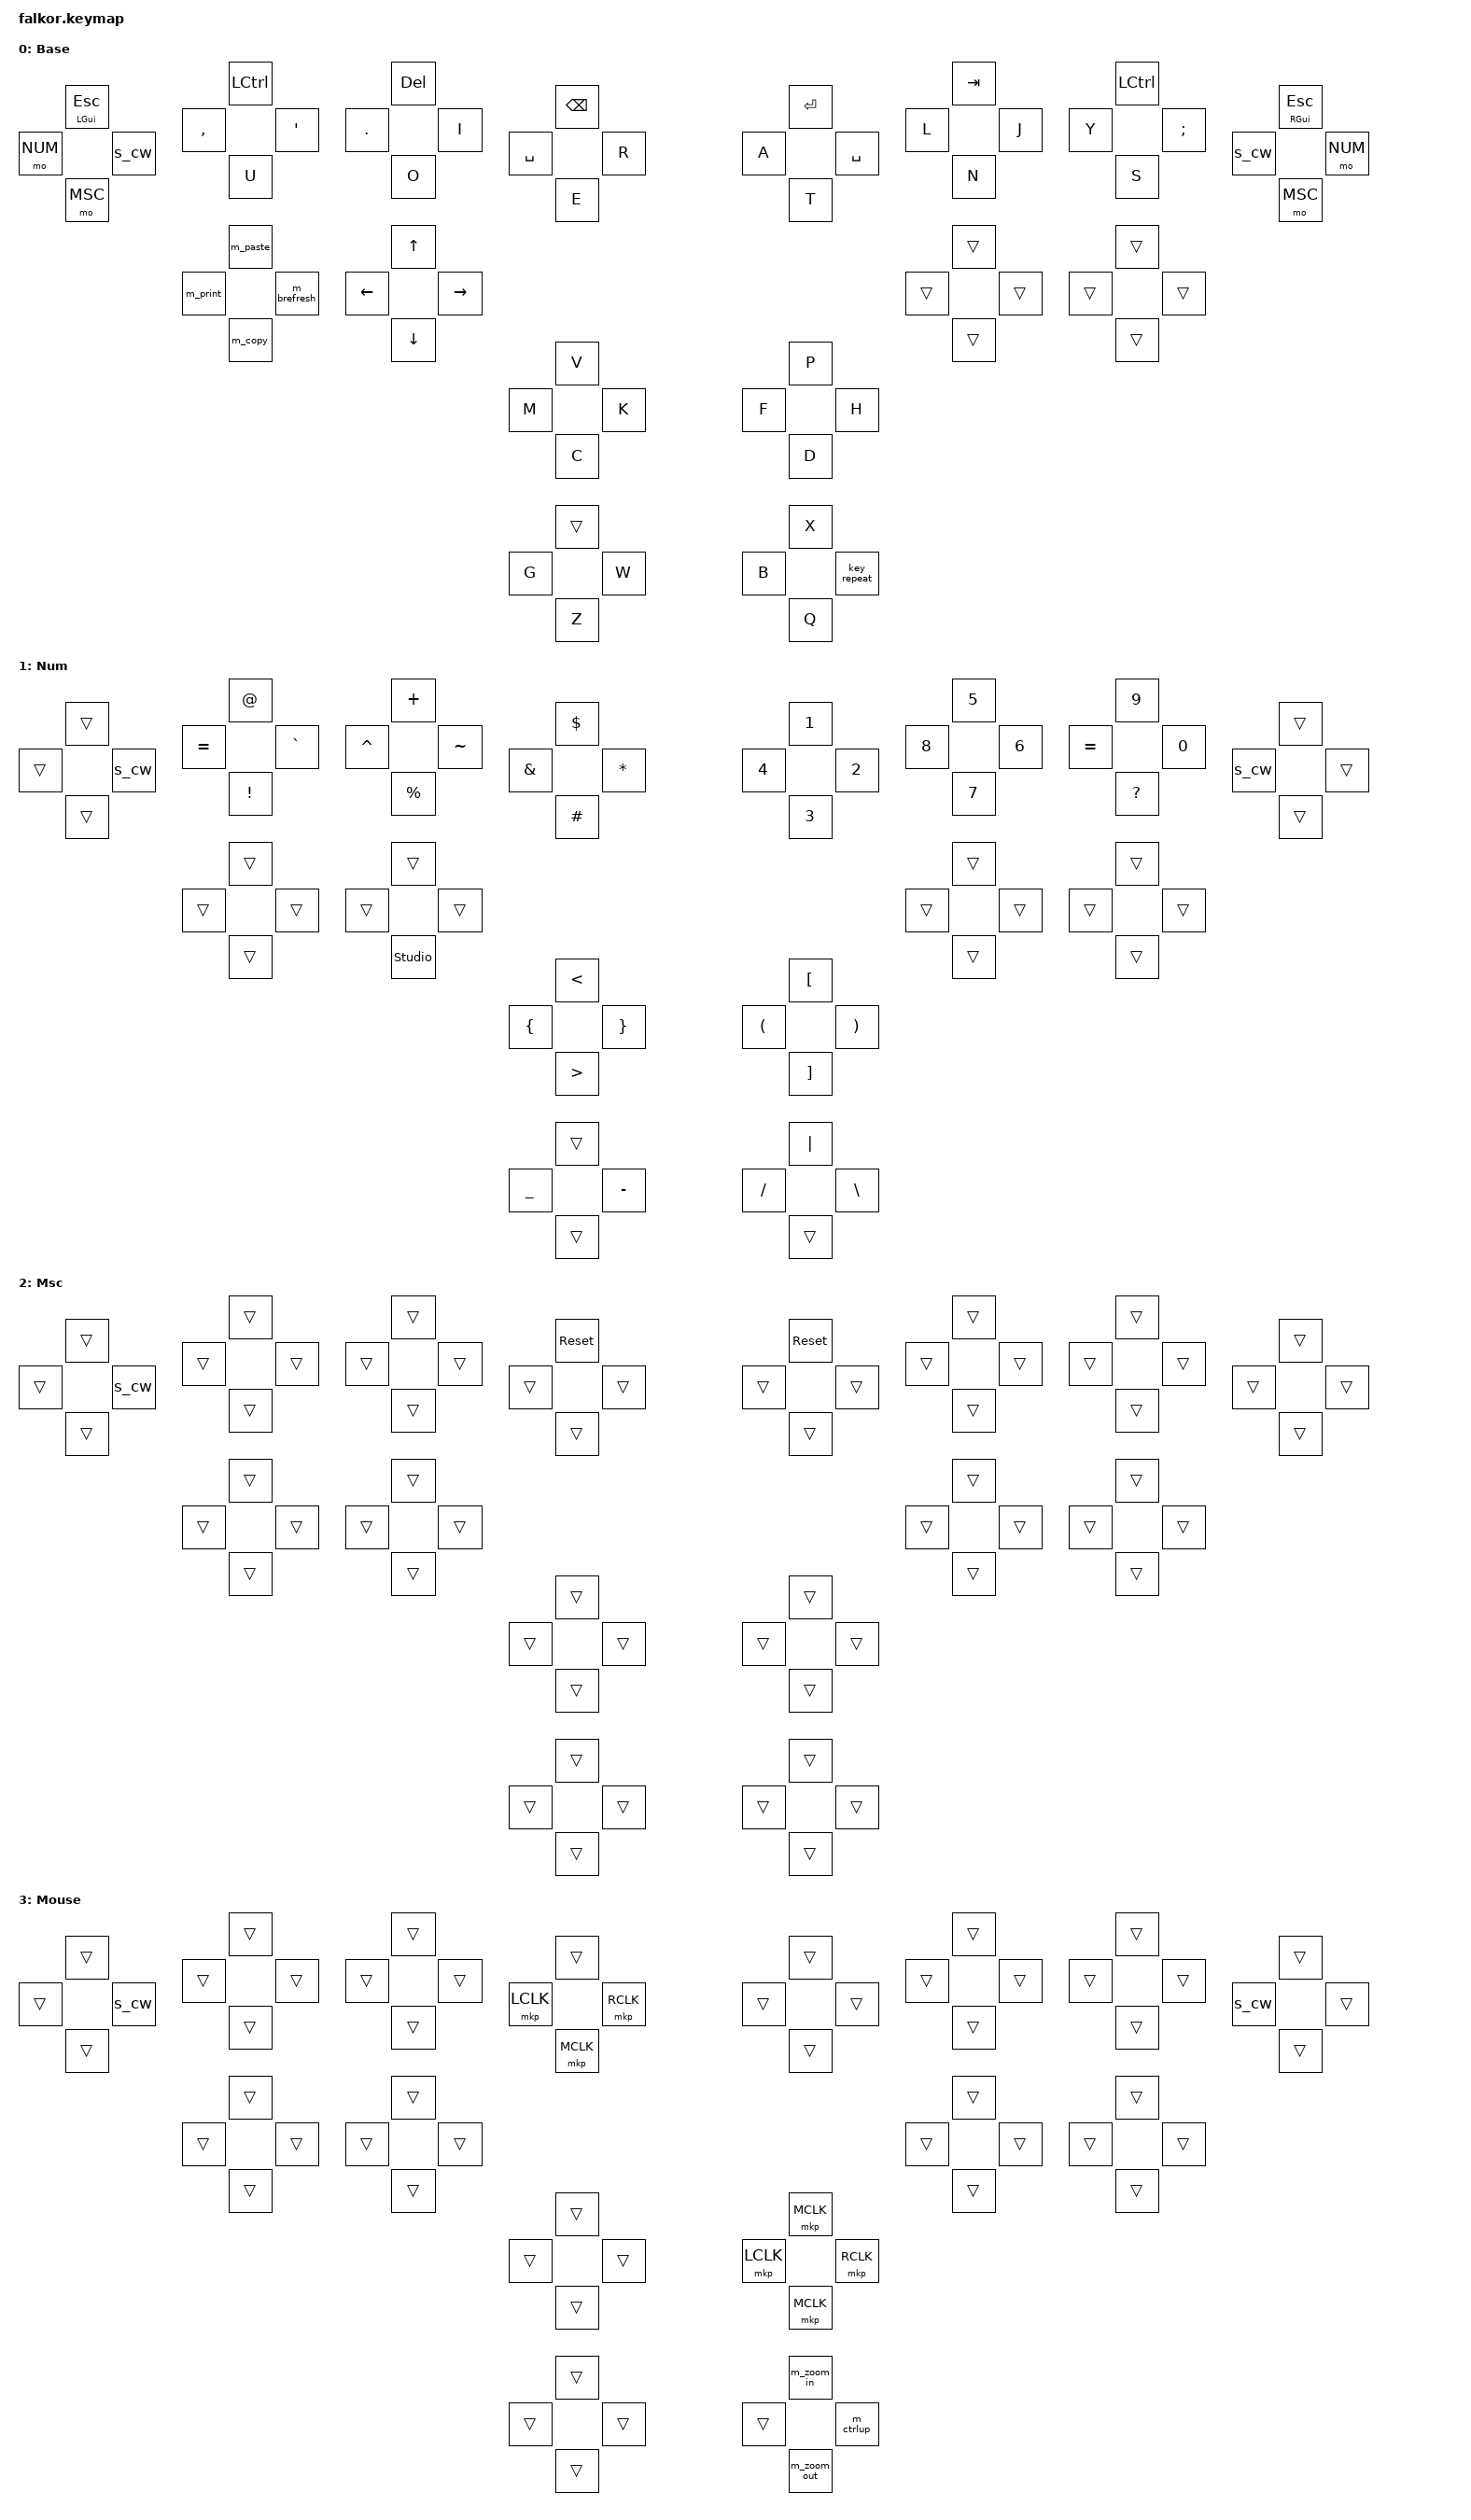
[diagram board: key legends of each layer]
#include <zephyr/dt-bindings/input/input-event-codes.h>
#include <behaviors.dtsi>
#include <behaviors/studio_unlock.dtsi>
#include <behaviors/mouse_keys.dtsi>
#include <behaviors/mouse_key_press.dtsi>
#include <behaviors/mouse_key_toggle.dtsi>
#include <dt-bindings/zmk/keys.h>
#include <dt-bindings/zmk/bt.h>
#include <dt-bindings/zmk/ext_power.h>
#include <dt-bindings/zmk/mouse.h>
#include <dt-bindings/zmk/outputs.h>
#include <dt-bindings/zmk/input_transform.h>
#include <input/processors/xyz.dtsi>

#define BAS 0
#define NUM 1
#define MSC 2
#define MOU 3

#ifndef MOVE_Y
#define MOVE_Y(n) (0)
#endif
#ifndef MOVE_X
#define MOVE_X(n) (0)
#endif

#define U_MOUSE_MOVE_MAX 1700
#define MOU_U MOVE_Y(-U_MOUSE_MOVE_MAX)
#define MOU_D MOVE_Y(U_MOUSE_MOVE_MAX)
#define MOU_L MOVE_X(-U_MOUSE_MOVE_MAX)
#define MOU_R MOVE_X(U_MOUSE_MOVE_MAX)

#define U_MOUSE_SCROLL_MAX 10
#define SCL_U MOVE_Y(U_MOUSE_SCROLL_MAX)
#define SCL_D MOVE_Y(-U_MOUSE_SCROLL_MAX)
#define SCL_L MOVE_X(-U_MOUSE_SCROLL_MAX)
#define SCL_R MOVE_X(U_MOUSE_SCROLL_MAX)

/ {
    xy_transf: xy_transf {
        compatible = "zmk,input-processor-transform";
        #input-processor-cells = <1>;
        type = <INPUT_EV_REL>;
        x-codes = <INPUT_REL_X>, <INPUT_REL_WHEEL>;
        y-codes = <INPUT_REL_Y>, <INPUT_REL_HWHEEL>;
    };
    xy_scaler: xy_scaler {
        compatible = "zmk,input-processor-scaler";
        #input-processor-cells = <2>;
        type = <INPUT_EV_REL>;
        codes = <INPUT_REL_X>, <INPUT_REL_Y>;
        track-remainders;
    };
    x_scaler: x_scaler {
        compatible = "zmk,input-processor-scaler";
        #input-processor-cells = <2>;
        type = <INPUT_EV_REL>;
        codes = <INPUT_REL_X>;
    };
    to_wheel: to_wheel {
        compatible = "zmk,input-processor-code-mapper";
        #input-processor-cells = <0>;
        type = <INPUT_EV_REL>;
        map = <INPUT_REL_X INPUT_REL_HWHEEL>
            , <INPUT_REL_Y INPUT_REL_WHEEL>;
    };
    zip_temp_layer: zip_temp_layer {
        compatible = "zmk,input-processor-temp-layer";
        #input-processor-cells = <2>;
        require-prior-idle-ms = <200>;
        excluded-positions = <
            9
            14
            15
            22
            27
            49
            52
            53
            55
            57
            60
            61
            63
        >;
    };

    tracball_mmv_il {
        compatible = "zmk,input-listener";
        device = <&tball_split>;
        input-processors = <&zip_zxy>, <&xy_scaler 4 1>;
        scroll {
            layers = <NUM MSC>;
            input-processors = <&xy_transf (INPUT_TRANSFORM_X_INVERT)>
                             , <&xy_scaler 1 45>
                             , <&to_wheel>;
            process-next;
        };
        layer_move {
            layers = <BAS>;
            input-processors = <&zip_temp_layer 3 2000>;
            process-next;
        };
    };

    behaviors {
        ht: hold_tap_mods {
            compatible = "zmk,behavior-hold-tap"; #binding-cells = <2>;
            tapping-term-ms = <200>;
            flavor = "hold-preferred"; bindings = <&kp>, <&kp>;
            display-name = "mod-tap";
        };
        hm: homerow_mods {
            compatible = "zmk,behavior-hold-tap"; #binding-cells = <2>;
            tapping-term-ms = <200>; quick-tap-ms = <200>;
            flavor = "tap-preferred"; bindings = <&kp>, <&kp>;
            display-name = "mod-tap";
        };
        hl: homerow_layers {
            compatible = "zmk,behavior-hold-tap"; #binding-cells = <2>;
            tapping-term-ms = <200>; quick-tap-ms = <200>;
            flavor = "tap-preferred"; bindings = <&mo>, <&kp>;
            display-name = "hold-layer";
        };
        kg: key_press_tap_toggle {
            compatible = "zmk,behavior-hold-tap"; #binding-cells = <2>;
            tapping-term-ms = <200>; quick-tap-ms = <200>;
            flavor = "tap-preferred"; bindings = <&kp>, <&tog>;
        };
        mkg: hold_mouse_key_press_tap_toggle {
            compatible = "zmk,behavior-hold-tap"; #binding-cells = <2>;
            tapping-term-ms = <200>; quick-tap-ms = <200>;
            flavor = "tap-preferred"; bindings = <&mkp>, <&tog>;
        };
        m_v: mouse_move {
            compatible = "zmk,behavior-input-two-axis";
            #binding-cells = <1>;

            trigger-period-ms = <12>; // slow down for OTA, default is 3ms
            x-input-code = <INPUT_REL_X>;
            y-input-code = <INPUT_REL_Y>;
            time-to-max-speed-ms = <300>;
            acceleration-exponent = <1>;
        };
        m_s: mouse_scroll {
            compatible = "zmk,behavior-input-two-axis";
            #binding-cells = <1>;
            trigger-period-ms = <12>; // slow down for OTA, default is 3ms
            x-input-code = <INPUT_REL_HWHEEL>;
            y-input-code = <INPUT_REL_WHEEL>;
            time-to-max-speed-ms = <50>;
            acceleration-exponent = <1>;
        };
        s_cw: tap_dance_shift_capsword {
            compatible = "zmk,behavior-tap-dance";
            #binding-cells = <0>;
            tapping-term-ms = <200>;
            bindings = <&sk LSHIFT>, <&caps_word>;
        };
    };

    mmv_input_listener {
        compatible = "zmk,input-listener";
        device = <&m_v>;
    };
    mms_input_listener {
        compatible = "zmk,input-listener";
        device = <&m_s>;
    };

    /* combos { */
    /*     compatible = "zmk,combos"; */
    /**/
    /*     spc       { timeout-ms = <50>; key-positions = <16 17>; bindings = <&kp SPC>; layers = <BAS NUM>; }; */
    /*     bksp      { timeout-ms = <50>; key-positions = <17 18>; bindings = <&kp BKSP>; layers = <BAS NUM>; }; */
    /*     del       { timeout-ms = <50>; key-positions = <6 7 8>; bindings = <&kp DEL>; layers = <BAS NUM>; }; */
    /**/
    /*     esc       { timeout-ms = <50>; key-positions = <11 12>; bindings = <&kp ESC>; layers = <BAS NUM>; }; */
    /*     tab       { timeout-ms = <50>; key-positions = <12 13>; bindings = <&kp TAB>; layers = <BAS NUM>; }; */
    /**/
    /*     ret_r     { timeout-ms = <50>; key-positions = <26 17 18>; bindings = <&kp RET>; layers = <BAS NUM>; }; */
    /*     ret_l     { timeout-ms = <50>; key-positions = <11 12 23>; bindings = <&kp RET>; layers = <BAS NUM>; }; */
    /**/
    /*     tog_lnp   { timeout-ms = <50>; key-positions = <1 2>; bindings = <&tog LNP>; layers = <BAS NUM MSC>; }; */
    /*     tog_rnp   { timeout-ms = <50>; key-positions = <7 8>; bindings = <&tog RNP>; layers = <BAS NUM MSC>; }; */
    /**/
    /*     mkp_swap  { timeout-ms = <50>; key-positions = <36 38>; bindings = <&tog LHB>; layers = <BAS NUM MSC>; }; */
    /*     mou_swap  { timeout-ms = <50>; key-positions = <46 47>; bindings = <&tog LHB>; layers = <BAS NUM MSC>; }; */
    /**/
    /*     tog_msk_ll { timeout-ms = <50>; key-positions = <21 22>; bindings = <&tog MSK>; layers = <BAS NUM MSC>; }; */
    /*     tog_msk_lr { timeout-ms = <50>; key-positions = <27 28>; bindings = <&tog MSK>; layers = <BAS NUM MSC>; }; */
    /**/
    /*     dfu_l     { timeout-ms = <50>; key-positions = <0 1>; bindings = <&bootloader>; layers = <MSC>; }; */
    /* }; */

    macros {
        m_copy: m_copy {
            compatible = "zmk,behavior-macro";
            #binding-cells = <0>;
            bindings
                = <&macro_press &kp LGUI>
                , <&macro_tap &kp C>
                , <&macro_release &kp LGUI>
                ;
        };
        m_paste: m_paste {
            compatible = "zmk,behavior-macro";
            #binding-cells = <0>;
            bindings
                = <&macro_press &kp LGUI>
                , <&macro_tap &kp V>
                , <&macro_release &kp LGUI>
                ;
        };
        m_ctrlup: m_ctrlup {
            compatible = "zmk,behavior-macro";
            #binding-cells = <0>;
            bindings
                = <&macro_press &kp LCTRL>
                , <&macro_tap &kp UP>
                , <&macro_release &kp LCTRL>
                ;
        };
        m_brefresh: m_brefresh {
            compatible = "zmk,behavior-macro";
            #binding-cells = <0>;
            bindings
                = <&macro_press &kp LGUI>
                , <&macro_press &kp LSHIFT>
                , <&macro_tap &kp R>
                , <&macro_release &kp LGUI>
                , <&macro_release &kp LSHIFT>
                ;
        };
        m_print: m_print {
            compatible = "zmk,behavior-macro";
            #binding-cells = <0>;
            bindings
                = <&macro_press &kp LGUI>
                , <&macro_press &kp LSHIFT>
                , <&macro_tap &kp N5>
                , <&macro_release &kp LGUI>
                , <&macro_release &kp LSHIFT>
                ;
        };
        m_zoom_in: m_zoom_in {
            compatible = "zmk,behavior-macro";
            #binding-cells = <0>;
            bindings
                = <&macro_press &kp LGUI>
                , <&macro_tap &kp EQUAL>
                , <&macro_release &kp LGUI>
                ;
        };
        m_zoom_out: m_zoom_out {
            compatible = "zmk,behavior-macro";
            #binding-cells = <0>;
            bindings
                = <&macro_press &kp LGUI>
                , <&macro_tap &kp MINUS>
                , <&macro_release &kp LGUI>
                ;
        };
    };

    keymap {
        compatible = "zmk,keymap";

        BAS_layer {
            display-name = "Base";
// -------______----------------_______-----------------_____-----------------______------------------_____---------------_____-------------______-----------------_____-------
//       | ESC |               |  CTRL |               | DEL |               | BSPC |       ||       | RET |             | TAB |           | CTRL |               | GUI |
// | NUM |     | SHIFT |   | , |       | ' |       | . |     | I |     | SPC |      | R |   ||   | A |     | SPC |   | L |     | J |   | Y |      | ; |   | SHIFT |     | NUM |  
//       | MSC |               |   U   |               |  O  |               |   E  |       ||       |  T  |             |  N  |           |   S  |               | MSC |
//                                                                                          ||
//                             | FRESH |               |  UP |                              ||                           |     |           |      |                      
//                       | PRT |       | CPY |   | LFT |     | RGT |                        ||                       |   |     |   |   |   |      |   |                          
//                             |  PST  |               | DWN |                              ||                           |     |           |      |                      
//                                                                                          ||
//                                                                           |   V  |       ||       |  P  |                                                             
//                                                                       | M |      | K |   ||   | F |     | H |                                                               
//                                                                           |   C  |       ||       |  D  |                                                             
//                                                                                          ||
//                                                                           |      |       ||       |  X  |                                                             
//                                                                       | G |      | W |   ||   | B |     | RPT |                                                               
//                                                                           |   Z  |       ||       |  Q  |                                                             
            bindings = <
      &mt LGUI ESC                &kp LCTRL                   &kp DEL                     &kp BSPC                    &kp RET                     &kp TAB                     &kp LCTRL                   &mt RGUI ESC           
&mo NUM       &s_cw         &kp COMMA     &kp APOS      &kp DOT       &kp I         &kp SPACE     &kp R         &kp A         &kp SPACE     &kp L         &kp J         &kp Y         &kp SEMI      &s_cw         &mo NUM
	  &mo MSC                     &kp U                       &kp O                       &kp E                       &kp T                       &kp N                       &kp S                       &mo MSC      

                                  &m_paste                   &kp UP                                                                               &trans                      &trans                          
	                        &m_print      &m_brefresh   &kp LEFT      &kp RIGHT                                                             &trans        &trans        &trans        &trans  
	                              &m_copy                    &kp DOWN                                                                             &trans                      &trans                    

                                                                                          &kp V                       &kp P                                     
	                                                                                &kp M         &kp K         &kp F         &kp H   
	                                                                                      &kp C                       &kp D                        

                                                                                          &trans                      &kp X                                     
	                                                                                &kp G         &kp W         &kp B         &key_repeat   
	                                                                                      &kp Z                       &kp Q                        
            >;
        };

        NUM_layer {
            display-name = "Num";

// -------______----------------_______-----------------_____-----------------______------------------_____---------------_____-------------______-----------------_____-------
//       |     |               |   @   |               |  +  |               |   $  |       ||       |  1  |             |  5  |           |   9  |               |     |
// |     |     | CAPSW |   | = |       | ` |       | ^ |     | ~ |       | & |      | * |   ||   | 1 |     | 2 |     | 8 |     | 6 |   | = |      | 0 |   | CAPSW |     |     |  
//       |     |               |   !   |               |  %  |               |   #  |       ||       |  3  |             |  7  |           |   ?  |               |     |
//                                                                                          ||
//                             |       |               |     |                              ||                           |     |           |      |                      
//                         |   |       |   |       |   |     |   |                          ||                       |   |     |   |   |   |      |   |                          
//                             |       |               |     |                              ||                           |     |           |      |                      
//                                                                                          ||
//                                                                           |   <  |       ||       |  [  |                                                             
//                                                                     |  {  |      | } |   ||   | ( |     | ) |                                                               
//                                                                           |   >  |       ||       |  ]  |                                                             
//                                                                                          ||
//                                                                           |      |       ||       |  |  |                                                             
//                                                                       | _ |      | - |   ||   | / |     | \ |                                                               
//                                                                           |      |       ||       |     |                                                             
            bindings = <
      &trans                      &kp AT                      &kp PLUS                    &kp DLLR                    &kp N1                      &kp N5                      &kp N9                      &trans           
&trans        &s_cw         &kp EQUAL     &kp GRAVE     &kp CARET     &kp TILDE     &kp AMPS      &kp STAR      &kp N4        &kp N2        &kp N8        &kp N6        &kp EQUAL     &kp N0        &s_cw         &trans
	  &trans                      &kp EXCL                    &kp PRCNT                   &kp HASH                    &kp N3                      &kp N7                      &kp QMARK                   &trans      

                                  &trans                      &trans                                                                              &trans                      &trans                          
	                        &trans        &trans        &trans        &trans                                                                &trans        &trans        &trans        &trans  
	                              &trans                      &studio_unlock                                                                      &trans                      &trans                    

                                                                                          &kp LT                      &kp LBKT                                     
	                                                                                &kp LBRC      &kp RBRC      &kp LPAR      &kp RPAR   
	                                                                                      &kp GT                      &kp RBKT                        

                                                                                          &trans                      &kp PIPE                                     
	                                                                                &kp UNDER     &kp MINUS     &kp FSLH      &kp BSLH   
	                                                                                      &trans                      &trans                        
            >;
        };

        MSC_layer {
            label = "Msc";
// -------______----------------_______-----------------_____-----------------______------------------_____---------------_____-------------______-----------------_____-------
//       |     |               |   @   |               |  +  |               |   $  |       ||       |  1  |             |  5  |           |   9  |               | GUI |
// |     |     | CAPSW |   | = |       | ` |       | ^ |     | ~ |       | & |      | * |   ||   | 1 |     | 2 |     | 8 |     | 6 |   | = |      | 0 |   | CAPSW |     |  |  
//       |     |               |   !   |               |  %  |               |   #  |       ||       |  3  |             |  7  |           |   ?  |               |     |
//                                                                                          ||
//                             |       |               |     |                              ||                           |     |           |      |                      
//                         |   |       |   |       |   |     |   |                          ||                       |   |     |   |   |   |      |   |                          
//                             |       |               |     |                              ||                           |     |           |      |                      
//                                                                                          ||
//                                                                           |   <  |       ||       |  [  |                                                             
//                                                                     |  {  |      | } |   ||   | ( |     | ) |                                                               
//                                                                           |   >  |       ||       |  ]  |                                                             
//                                                                                          ||
//                                                                           |      |       ||       |  |  |                                                             
//                                                                       | _ |      | - |   ||   | / |     | \ |                                                               
//                                                                           |      |       ||       |     |                                                             
            bindings = <
      &trans                      &trans                      &trans                      &sys_reset                  &sys_reset                  &trans                      &trans                      &trans          
&trans        &s_cw         &trans        &trans        &trans        &trans        &trans        &trans        &trans        &trans        &trans        &trans        &trans        &trans        &trans        &trans
	  &trans                      &trans                      &trans                      &trans                      &trans                      &trans                      &trans                      &trans      

                                  &trans                      &trans                                                                              &trans                      &trans                          
	                        &trans        &trans        &trans        &trans                                                                &trans        &trans        &trans        &trans  
	                              &trans                      &trans                                                                              &trans                      &trans
                                                                                          &trans                      &trans                                     
	                                                                                &trans        &trans        &trans        &trans  
	                                                                                      &trans                      &trans                        

                                                                                          &trans                      &trans                                     
	                                                                                &trans        &trans        &trans        &trans   
	                                                                                      &trans                      &trans                        
            >;
        };

        MOU_layer {
            display-name = "Mouse";
// -------______----------------_______-----------------_____-----------------______------------------_____---------------_____-------------______-----------------_____-------
//       |     |               |   @   |               |  +  |               |   $  |       ||       |  1  |             |  5  |           |   9  |               | GUI |
// | BAS |     | CAPSW |   | = |       | ` |       | ^ |     | ~ |       | & |      | * |   ||   | 1 |     | 2 |     | 8 |     | 6 |   | = |      | CUP | | CAPSW |     | BAS |  
//       |     |               |   !   |               |  %  |               |   #  |       ||       |  3  |             |  7  |           | MCLK |               |     |
//                                                                                          ||
//                             |       |               |     |                              ||                           |     |           |      |                      
//                         |   |       |   |       |   |     |   |                          ||                       |   |     |   |   |   |      |   |                          
//                             |       |               |     |                              ||                           |     |           |      |                      
//                                                                                          ||
//                                                                           |   <  |       ||       | LCLK|                                                             
//                                                                     |  {  |      | } |   ||| RCLK |     | RCLK |                                                               
//                                                                           |   >  |       ||       | LCLK|                                                             
//                                                                                          ||
//                                                                           |      |       ||       |  |  |                                                             
//                                                                       | _ |      | - |   ||   | / |     | \ |                                                               
//                                                                           |      |       ||       |     |                                                             
            bindings = <
      &trans                      &trans                      &trans                      &trans                      &trans                      &trans                      &trans                      &trans          
&trans        &s_cw         &trans        &trans        &trans        &trans        &mkp LCLK     &mkp RCLK     &trans        &trans        &trans        &trans        &trans        &trans        &s_cw         &trans
	  &trans                      &trans                      &trans                      &mkp MCLK                   &trans                      &trans                      &trans                      &trans      

                                  &trans                      &trans                                                                              &trans                      &trans                          
	                        &trans        &trans        &trans        &trans                                                                &trans        &trans        &trans        &trans  
	                              &trans                      &trans                                                                              &trans                      &trans                    

                                                                                          &trans                      &mkp MCLK                                     
	                                                                                &trans      &trans          &mkp LCLK     &mkp RCLK  
	                                                                                      &trans                      &mkp MCLK                        

                                                                                          &trans                      &m_zoom_in                                     
	                                                                                &trans     &trans           &trans        &m_ctrlup   
	                                                                                      &trans                      &m_zoom_out                        
            >;
        };
    };
};
